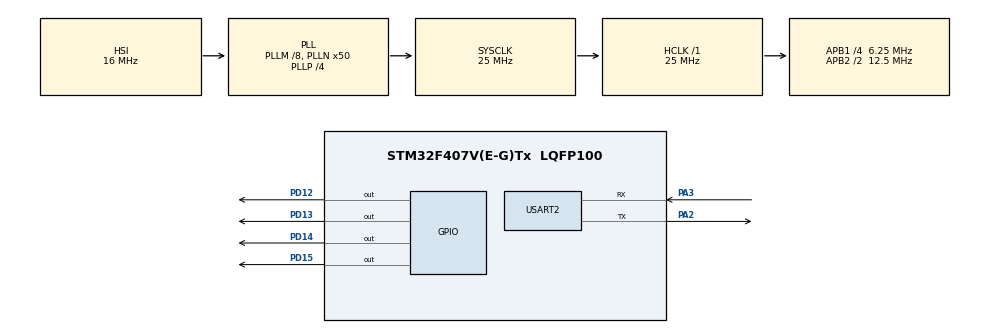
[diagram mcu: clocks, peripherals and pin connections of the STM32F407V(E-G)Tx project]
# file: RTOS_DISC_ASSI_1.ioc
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FREERTOS.INCLUDE_vTaskDelayUntil=1
FREERTOS.Tasks01=defaultTask,-3,128,StartDefaultTask,Default,NULL,Dynamic,NULL,NULL
FREERTOS.configUSE_NEWLIB_REENTRANT=1
Mcu.Family=STM32F4
Mcu.Name=STM32F407V(E-G)Tx
Mcu.Package=LQFP100
NVIC.PriorityGroup=NVIC_PRIORITYGROUP_4
NVIC.TIM1_UP_TIM10_IRQn=true\:0\:0\:false\:false\:true\:false\:false\:true\:true
NVIC.TimeBase=TIM1_UP_TIM10_IRQn
NVIC.TimeBaseIP=TIM1
PA2.Mode=Asynchronous
PA2.Signal=USART2_TX
PA3.Mode=Asynchronous
PA3.Signal=USART2_RX
PD12.Signal=GPIO_Output
PD13.Signal=GPIO_Output
PD14.Signal=GPIO_Output
PD15.Signal=GPIO_Output
ProjectManager.HeapSize=0x200
ProjectManager.StackSize=0x400
ProjectManager.TargetToolchain=STM32CubeIDE
RCC.48MHZClocksFreq_Value=14285714.285714285
RCC.AHBFreq_Value=25000000
RCC.APB1CLKDivider=RCC_HCLK_DIV4
RCC.APB1Freq_Value=6250000
RCC.APB1TimFreq_Value=12500000
RCC.APB2CLKDivider=RCC_HCLK_DIV2
RCC.APB2Freq_Value=12500000
RCC.APB2TimFreq_Value=25000000
RCC.CortexFreq_Value=25000000
RCC.HCLKFreq_Value=25000000
RCC.HSE_VALUE=8000000
RCC.HSI_VALUE=16000000
RCC.LSE_VALUE=32768
RCC.PLLM=8
RCC.PLLN=50
RCC.PLLP=RCC_PLLP_DIV4
RCC.PLLQ=7
RCC.SYSCLKFreq_VALUE=25000000
RCC.SYSCLKSource=RCC_SYSCLKSOURCE_PLLCLK
RCC.VCOOutputFreq_Value=100000000
USART2.VirtualMode=VM_ASYNC
VP_FREERTOS_VS_CMSIS_V1.Mode=CMSIS_V1
VP_SYS_VS_tim1.Mode=TIM1
board=STM32F407G-DISC1

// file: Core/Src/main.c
/* USER CODE BEGIN Header */
/**
  ******************************************************************************
  * @file           : main.c
  * @brief          : Main program body
  ******************************************************************************
  * @attention
  *
  * Copyright (c) 2024 STMicroelectronics.
  * All rights reserved.
  *
  * This software is licensed under terms that can be found in the LICENSE file
  * in the root directory of this software component.
  * If no LICENSE file comes with this software, it is provided AS-IS.
  *
  ******************************************************************************
  */
/* USER CODE END Header */
#include "main.h"
#include "cmsis_os.h"

/* USER CODE BEGIN Includes */
#include <string.h>
/* USER CODE END Includes */

UART_HandleTypeDef huart2;

osThreadId defaultTaskHandle;

void SystemClock_Config(void);
static void MX_GPIO_Init(void);
static void MX_USART2_UART_Init(void);
void StartDefaultTask(void const * argument);

/* USER CODE BEGIN 0 */

/*
void vLEDBlinkingTask(void *pvParam)
{
	portTickType xLastWakeupTime = xTaskGetTickCount();
	while(1)
	{
		HAL_GPIO_TogglePin(GPIOD, GPIO_PIN_14);
		vTaskDelayUntil(&xLastWakeupTime, 2000 / portTICK_RATE_MS);
	}
	vTaskDelete(NULL);
}
*/
typedef struct
{
    UART_HandleTypeDef *huart;
    uint32_t delay;
} UARTTaskParams;

void vLedTask1(void *pvParam)
{
	portTickType xLastWakeupTime = xTaskGetTickCount();
	while(1)
	{
		HAL_GPIO_TogglePin(GPIOD, GPIO_PIN_12);
		vTaskDelayUntil(&xLastWakeupTime, 1000 / portTICK_RATE_MS);
	}
	vTaskDelete(NULL);
}

void vLedTask2(void *pvParam)
{
	portTickType xLastWakeupTime = xTaskGetTickCount();
	while(1)
	{
		HAL_GPIO_TogglePin(GPIOD, GPIO_PIN_13);
		vTaskDelayUntil(&xLastWakeupTime, 700 / portTICK_RATE_MS);
	}
	vTaskDelete(NULL);
}

void vLedTask3(void *pvParam)
{
	portTickType xLastWakeupTime = xTaskGetTickCount();
	while(1)
	{
		HAL_GPIO_TogglePin(GPIOD, GPIO_PIN_14);
		vTaskDelayUntil(&xLastWakeupTime, 500 / portTICK_RATE_MS);
	}
	vTaskDelete(NULL);
}

void vLedTask4(void *pvParam)
{
	portTickType xLastWakeupTime = xTaskGetTickCount();
	while(1)
	{
		HAL_GPIO_TogglePin(GPIOD, GPIO_PIN_15);
		vTaskDelayUntil(&xLastWakeupTime, 250 / portTICK_RATE_MS);
	}
	vTaskDelete(NULL);
}

void vUARTSendingTask(void *pvParam)
{
	char *pcMessage = (char *)pvParam;
	while(1)
	{
		portENTER_CRITICAL();
		HAL_UART_Transmit(&huart2, (uint8_t *)pcMessage, strlen(pcMessage), HAL_MAX_DELAY);
		portEXIT_CRITICAL();
		vTaskDelay(5000 / portTICK_RATE_MS);
	}
	vTaskDelete(NULL);
}
void vUARTReceivingTask(void *pvParam)
{
    UARTTaskParams *params = (UARTTaskParams *)pvParam;
    UART_HandleTypeDef *huart = params->huart;
    uint32_t delay = params->delay;

    uint8_t rxBuffer[100]; // Adjust buffer size as necessary
    while (1)
    {
        portENTER_CRITICAL();
        HAL_UART_Receive(huart, rxBuffer, sizeof(rxBuffer), HAL_MAX_DELAY);
        portEXIT_CRITICAL();

        // Process the received data
        // For demonstration purposes, we can just send it back
        portENTER_CRITICAL();
        HAL_UART_Transmit(huart, rxBuffer, strlen((char *)rxBuffer), HAL_MAX_DELAY);
        portEXIT_CRITICAL();

        vTaskDelay(delay / portTICK_RATE_MS);
    }
    vTaskDelete(NULL);
}

/* USER CODE END 0 */

int main(void)
{

  /* USER CODE BEGIN 1 */

	BaseType_t xRet;
	char * pcMessage = "This is UART Demo\r\n";
  /* USER CODE END 1 */

  /* MCU Configuration--------------------------------------------------------*/

  /* Reset of all peripherals, Initializes the Flash interface and the Systick. */
  HAL_Init();

  /* Configure the system clock */
  SystemClock_Config();

  /* Initialize all configured peripherals */
  MX_GPIO_Init();
  MX_USART2_UART_Init();
  /* USER CODE BEGIN 2 */
  HAL_UART_Transmit(&huart2, (uint8_t *)pcMessage, strlen(pcMessage), HAL_MAX_DELAY);
  /* USER CODE END 2 */

  /* Create the thread(s) */
  /* definition and creation of defaultTask */
  osThreadDef(defaultTask, StartDefaultTask, osPriorityIdle, 0, 128);
  defaultTaskHandle = osThreadCreate(osThread(defaultTask), NULL);

  /* USER CODE BEGIN RTOS_THREADS */
  /* add threads, ... */
  xRet = xTaskCreate(vLedTask1, "LED Task", configMINIMAL_STACK_SIZE, NULL, 4, NULL);
   if(xRet != pdTRUE)
 	  Error_Handler();
   xRet = xTaskCreate(vLedTask2, "LED Task", configMINIMAL_STACK_SIZE, NULL, 4, NULL);
    if(xRet != pdTRUE)
  	  Error_Handler();
    xRet = xTaskCreate(vLedTask3, "LED Task", configMINIMAL_STACK_SIZE, NULL, 4, NULL);
     if(xRet != pdTRUE)
   	  Error_Handler();
     xRet = xTaskCreate(vLedTask4, "LED Task", configMINIMAL_STACK_SIZE, NULL, 4, NULL);
      if(xRet != pdTRUE)
    	  Error_Handler();

   xRet = xTaskCreate(vUARTSendingTask, "UART1 Task", configMINIMAL_STACK_SIZE, "UART Task1\r\n", 3, NULL);
     if(xRet != pdTRUE)
   	  Error_Handler();

     xRet = xTaskCreate(vUARTSendingTask, "UART2 Task", configMINIMAL_STACK_SIZE, "UART Task2\r\n", 3, NULL);
        if(xRet != pdTRUE)
      	  Error_Handler();
        UARTTaskParams uartParams;
           uartParams.huart = &huart2; // Replace with your actual UART handle
           uartParams.delay = 5000;    // Delay in milliseconds

           // Create the UART receiving task
           xTaskCreate(vUARTReceivingTask, "UART Receiving Task", configMINIMAL_STACK_SIZE, &uartParams, tskIDLE_PRIORITY + 1, NULL);

  /* USER CODE END RTOS_THREADS */

  /* Start scheduler */
  osKernelStart();

  /* We should never get here as control is now taken by the scheduler */

  /* Infinite loop */
  while (1)
  {

  }
}

void SystemClock_Config(void)
{
  RCC_OscInitTypeDef RCC_OscInitStruct = {0};
  RCC_ClkInitTypeDef RCC_ClkInitStruct = {0};

  /** Configure the main internal regulator output voltage
  */
  __HAL_RCC_PWR_CLK_ENABLE();
  __HAL_PWR_VOLTAGESCALING_CONFIG(PWR_REGULATOR_VOLTAGE_SCALE1);

  /** Initializes the RCC Oscillators according to the specified parameters
  * in the RCC_OscInitTypeDef structure.
  */
  RCC_OscInitStruct.OscillatorType = RCC_OSCILLATORTYPE_HSI;
  RCC_OscInitStruct.HSIState = RCC_HSI_ON;
  RCC_OscInitStruct.HSICalibrationValue = RCC_HSICALIBRATION_DEFAULT;
  RCC_OscInitStruct.PLL.PLLState = RCC_PLL_ON;
  RCC_OscInitStruct.PLL.PLLSource = RCC_PLLSOURCE_HSI;
  RCC_OscInitStruct.PLL.PLLM = 8;
  RCC_OscInitStruct.PLL.PLLN = 50;
  RCC_OscInitStruct.PLL.PLLP = RCC_PLLP_DIV4;
  RCC_OscInitStruct.PLL.PLLQ = 7;
  if (HAL_RCC_OscConfig(&RCC_OscInitStruct) != HAL_OK)
  {
    Error_Handler();
  }

  /** Initializes the CPU, AHB and APB buses clocks
  */
  RCC_ClkInitStruct.ClockType = RCC_CLOCKTYPE_HCLK|RCC_CLOCKTYPE_SYSCLK
                              |RCC_CLOCKTYPE_PCLK1|RCC_CLOCKTYPE_PCLK2;
  RCC_ClkInitStruct.SYSCLKSource = RCC_SYSCLKSOURCE_PLLCLK;
  RCC_ClkInitStruct.AHBCLKDivider = RCC_SYSCLK_DIV1;
  RCC_ClkInitStruct.APB1CLKDivider = RCC_HCLK_DIV4;
  RCC_ClkInitStruct.APB2CLKDivider = RCC_HCLK_DIV2;

  if (HAL_RCC_ClockConfig(&RCC_ClkInitStruct, FLASH_LATENCY_0) != HAL_OK)
  {
    Error_Handler();
  }
}

static void MX_USART2_UART_Init(void)
{

  huart2.Instance = USART2;
  huart2.Init.BaudRate = 115200;
  huart2.Init.WordLength = UART_WORDLENGTH_8B;
  huart2.Init.StopBits = UART_STOPBITS_1;
  huart2.Init.Parity = UART_PARITY_NONE;
  huart2.Init.Mode = UART_MODE_TX_RX;
  huart2.Init.HwFlowCtl = UART_HWCONTROL_NONE;
  huart2.Init.OverSampling = UART_OVERSAMPLING_16;
  if (HAL_UART_Init(&huart2) != HAL_OK)
  {
    Error_Handler();
  }

}

static void MX_GPIO_Init(void)
{
  GPIO_InitTypeDef GPIO_InitStruct = {0};

  /* GPIO Ports Clock Enable */
  __HAL_RCC_GPIOA_CLK_ENABLE();
  __HAL_RCC_GPIOD_CLK_ENABLE();

  /*Configure GPIO pin Output Level */
  HAL_GPIO_WritePin(GPIOD, GPIO_PIN_12|GPIO_PIN_13|GPIO_PIN_14|GPIO_PIN_15, GPIO_PIN_RESET);

  /*Configure GPIO pins : PD12 PD13 PD14 PD15 */
  GPIO_InitStruct.Pin = GPIO_PIN_12|GPIO_PIN_13|GPIO_PIN_14|GPIO_PIN_15;
  GPIO_InitStruct.Mode = GPIO_MODE_OUTPUT_PP;
  GPIO_InitStruct.Pull = GPIO_NOPULL;
  GPIO_InitStruct.Speed = GPIO_SPEED_FREQ_LOW;
  HAL_GPIO_Init(GPIOD, &GPIO_InitStruct);

}

void StartDefaultTask(void const * argument)
{
  for(;;)
  {
    osDelay(1);
  }
}

void HAL_TIM_PeriodElapsedCallback(TIM_HandleTypeDef *htim)
{
  if (htim->Instance == TIM1) {
    HAL_IncTick();
  }
}

void Error_Handler(void)
{
  __disable_irq();
  while (1)
  {
  }
}
